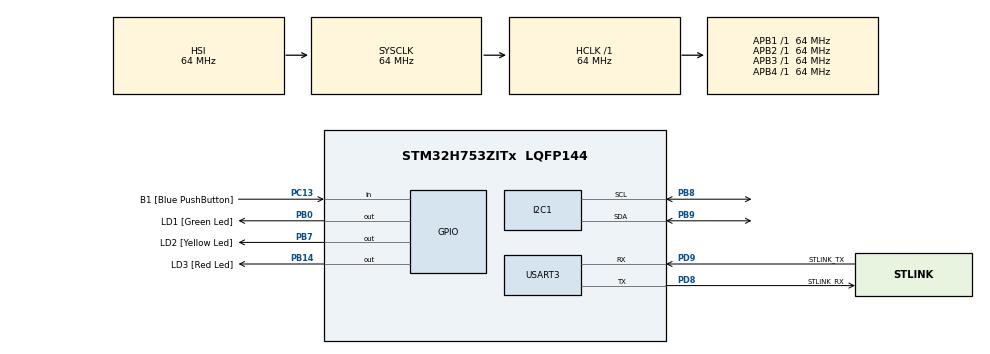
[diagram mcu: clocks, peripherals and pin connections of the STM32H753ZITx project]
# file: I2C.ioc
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CORTEX_M7.CPU_DCache=Disabled
CORTEX_M7.CPU_ICache=Disabled
CORTEX_M7.MPU_Control=__NULL
CORTEX_M7.default_mode_Activation=1
Dma.Request0=USART3_RX
Dma.USART3_RX.0.Direction=DMA_PERIPH_TO_MEMORY
Dma.USART3_RX.0.EventEnable=DISABLE
Dma.USART3_RX.0.FIFOMode=DMA_FIFOMODE_DISABLE
Dma.USART3_RX.0.Instance=DMA1_Stream0
Dma.USART3_RX.0.MemDataAlignment=DMA_MDATAALIGN_BYTE
Dma.USART3_RX.0.MemInc=DMA_MINC_ENABLE
Dma.USART3_RX.0.Mode=DMA_NORMAL
Dma.USART3_RX.0.PeriphDataAlignment=DMA_PDATAALIGN_BYTE
Dma.USART3_RX.0.PeriphInc=DMA_PINC_DISABLE
Dma.USART3_RX.0.Polarity=HAL_DMAMUX_REQ_GEN_RISING
Dma.USART3_RX.0.Priority=DMA_PRIORITY_LOW
Dma.USART3_RX.0.RequestNumber=1
Dma.USART3_RX.0.SignalID=NONE
Dma.USART3_RX.0.SyncEnable=DISABLE
Dma.USART3_RX.0.SyncPolarity=HAL_DMAMUX_SYNC_NO_EVENT
Dma.USART3_RX.0.SyncRequestNumber=1
Dma.USART3_RX.0.SyncSignalID=NONE
Mcu.Family=STM32H7
Mcu.Name=STM32H753ZITx
Mcu.Package=LQFP144
NVIC.DMA1_Stream0_IRQn=true\:0\:0\:false\:false\:true\:false\:true\:true
NVIC.I2C1_ER_IRQn=true\:0\:0\:false\:false\:true\:true\:true\:true
NVIC.I2C1_EV_IRQn=true\:0\:0\:false\:false\:true\:true\:true\:true
NVIC.PriorityGroup=NVIC_PRIORITYGROUP_4
NVIC.USART3_IRQn=true\:0\:0\:false\:false\:true\:true\:true\:true
PB0.GPIO_Label=LD1 [Green Led]
PB0.Signal=GPIO_Output
PB14.GPIO_Label=LD3 [Red Led]
PB14.Signal=GPIO_Output
PB7.GPIO_Label=LD2 [Yellow Led]
PB7.Signal=GPIO_Output
PB8.GPIO_Mode=GPIO_MODE_AF_OD
PB8.GPIO_Pu=GPIO_PULLUP
PB8.GPIO_Speed=GPIO_SPEED_FREQ_VERY_HIGH
PB8.Mode=I2C
PB8.Signal=I2C1_SCL
PB9.GPIO_Pu=GPIO_PULLUP
PB9.GPIO_Speed=GPIO_SPEED_FREQ_VERY_HIGH
PB9.Mode=I2C
PB9.Signal=I2C1_SDA
PC13.GPIO_Label=B1 [Blue PushButton]
PC13.Signal=GPIO_Input
PC14-OSC32_IN\ (OSC32_IN).Signal=RCC_OSC32_IN
PC15-OSC32_OUT\ (OSC32_OUT).Signal=RCC_OSC32_OUT
PD8.GPIO_Label=STLINK_RX
PD8.Mode=Asynchronous
PD8.Signal=USART3_TX
PD9.GPIO_Label=STLINK_TX
PD9.Mode=Asynchronous
PD9.Signal=USART3_RX
PH0-OSC_IN\ (PH0).Signal=RCC_OSC_IN
PH1-OSC_OUT\ (PH1).Signal=RCC_OSC_OUT
ProjectManager.HeapSize=0x200
ProjectManager.StackSize=0x400
ProjectManager.TargetToolchain=STM32CubeIDE
RCC.ADCFreq_Value=129000000
RCC.APB1Freq_Value=64000000
RCC.APB2Freq_Value=64000000
RCC.APB3Freq_Value=64000000
RCC.APB4Freq_Value=64000000
RCC.CortexFreq_Value=64000000
RCC.DIVM1=1
RCC.DIVN1=24
RCC.DIVQ1=4
RCC.HCLKFreq_Value=64000000
RCC.HSE_VALUE=8000000
RCC.PLLFRACN=0
RCC.PWR_Regulator_Voltage_Scale=PWR_REGULATOR_VOLTAGE_SCALE2
RCC.SYSCLKFreq_VALUE=64000000
RCC.USBFreq_Value=384000000
USART3.VirtualMode-Asynchronous=VM_ASYNC
VP_MEMORYMAP_VS_MEMORYMAP.Mode=CurAppReg
board=NUCLEO-H753ZI

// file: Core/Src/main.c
/* USER CODE BEGIN Header */
/**
  ******************************************************************************
  * @file           : main.c
  * @brief          : Main program body
  ******************************************************************************
  * @attention
  *
  * Copyright (c) 2025 STMicroelectronics.
  * All rights reserved.
  *
  * This software is licensed under terms that can be found in the LICENSE file
  * in the root directory of this software component.
  * If no LICENSE file comes with this software, it is provided AS-IS.
  *
  ******************************************************************************
  */
/* USER CODE END Header */
#include "main.h"

/* USER CODE BEGIN Includes */
#include <stdlib.h>
/* USER CODE END Includes */

/* USER CODE BEGIN PD */
#define PCF8591_ADDRESS (0x48 << 1)
/* USER CODE END PD */

I2C_HandleTypeDef hi2c1;

UART_HandleTypeDef huart3;
DMA_HandleTypeDef hdma_usart3_rx;

/* USER CODE BEGIN PV */

#define RX_BUFFER_SIZE 32

uint8_t rx_buffer[RX_BUFFER_SIZE];
uint8_t rx_byte;
uint8_t rx_index = 0;

// FLAGS para comandos
volatile uint8_t comando_pendente = 0; // 0 = nenhum, 1 = AIN0, 2 = AIN1, 3 = AIN3, 4 = DAC
volatile int valor_dac = 0;

/* USER CODE END PV */

void SystemClock_Config(void);
static void MX_GPIO_Init(void);
static void MX_DMA_Init(void);
static void MX_I2C1_Init(void);
static void MX_USART3_UART_Init(void);
/* USER CODE BEGIN PFP */

uint8_t PCF8591_ReadAnalog(uint8_t channel);

/* USER CODE END PFP */

int main(void)
{

  /* MCU Configuration--------------------------------------------------------*/

  /* Reset of all peripherals, Initializes the Flash interface and the Systick. */
  HAL_Init();

  /* Configure the system clock */
  SystemClock_Config();

  /* Initialize all configured peripherals */
  MX_GPIO_Init();
  MX_DMA_Init();
  MX_I2C1_Init();
  MX_USART3_UART_Init();
  /* USER CODE BEGIN 2 */

  HAL_UART_Receive_IT(&huart3, &rx_byte, 1);

  /* USER CODE END 2 */

  /* Infinite loop */
  while (1)
  {

    /* USER CODE BEGIN 3 */

	  char buffer[50];
	  if (comando_pendente == 1) {
	      uint8_t v = PCF8591_ReadAnalog(0);
	      sprintf(buffer, "AIN0: %d\r\n", v);
	      HAL_UART_Transmit(&huart3, (uint8_t*)buffer, strlen(buffer), 10);
	      comando_pendente = 0;
	  } else if (comando_pendente == 2) {
	      uint8_t v = PCF8591_ReadAnalog(1);
	      sprintf(buffer, "AIN1: %d\r\n", v);
	      HAL_UART_Transmit(&huart3, (uint8_t*)buffer, strlen(buffer), 10);
	      comando_pendente = 0;
	  } else if (comando_pendente == 3) {
	      uint8_t v = PCF8591_ReadAnalog(3);
	      sprintf(buffer, "AIN3: %d\r\n", v);
	      HAL_UART_Transmit(&huart3, (uint8_t*)buffer, strlen(buffer), 10);
	      comando_pendente = 0;
	  } else if (comando_pendente == 4) {
	      PCF8591_WriteDAC((uint8_t)valor_dac);
	      sprintf(buffer, "Valor do DAC: %d\r\n", valor_dac);
	      HAL_UART_Transmit(&huart3, (uint8_t*)buffer, strlen(buffer), 10);
	      comando_pendente = 0;
	  }

//	  HAL_UART_Receive_IT(&huart3, &rx_byte, 1);

//	  char buffer[32];

//	  uint8_t valor_ain0 = PCF8591_ReadAnalog(0);
//	  sprintf(buffer, "AIN0 %d\r\n", valor_ain0);
//	  HAL_UART_Transmit(&huart3, (uint8_t*)buffer, strlen(buffer), 10);
//	  HAL_Delay(200);
//
//	  uint8_t valor_ain1 = PCF8591_ReadAnalog(1);
//	  sprintf(buffer, "AIN1 %d\r\n", valor_ain1);
//	  HAL_UART_Transmit(&huart3, (uint8_t*)buffer, strlen(buffer), 10);
//	  HAL_Delay(200);
//
//	  uint8_t valor_ain3 = PCF8591_ReadAnalog(3);
//	  sprintf(buffer, "AIN3 %d\r\n", valor_ain3);
//	  HAL_UART_Transmit(&huart3, (uint8_t*)buffer, strlen(buffer), 10);
//	  HAL_Delay(200);

//
//	  char buffer[32];
//	  uint8_t valor_ain0 = PCF8591_ReadAnalog(3);
//	  sprintf(buffer, "AIN0 %d\r\n", valor_ain0);
//	  HAL_UART_Transmit(& huart3, (uint8_t*)buffer, strlen(buffer), 10);
//	  HAL_Delay(200);
//
//	  uint8_t valor_ain0 = PCF8591_ReadAnalog(0);
//	  sprintf()
//	  HAL_UART_Transmit(&huart3, &valor_ain0, 1, 10);
//	  HAL_Delay(200);
//
//	  uint8_t valor_ain1 = PCF8591_ReadAnalog(1);
//	  HAL_UART_Transmit(&huart3, &valor_ain1, 1, 10);
//	  HAL_Delay(200);
//
//	  uint8_t valor_ain3 = PCF8591_ReadAnalog(3);
//	  HAL_UART_Transmit(&huart3, &valor_ain3, 1, 10);
//	  HAL_Delay(200);

  }

  /* USER CODE END 3 */
}

void SystemClock_Config(void)
{
  RCC_OscInitTypeDef RCC_OscInitStruct = {0};
  RCC_ClkInitTypeDef RCC_ClkInitStruct = {0};

  /** Supply configuration update enable
  */
  HAL_PWREx_ConfigSupply(PWR_LDO_SUPPLY);

  /** Configure the main internal regulator output voltage
  */
  __HAL_PWR_VOLTAGESCALING_CONFIG(PWR_REGULATOR_VOLTAGE_SCALE2);

  while(!__HAL_PWR_GET_FLAG(PWR_FLAG_VOSRDY)) {}

  /** Initializes the RCC Oscillators according to the specified parameters
  * in the RCC_OscInitTypeDef structure.
  */
  RCC_OscInitStruct.OscillatorType = RCC_OSCILLATORTYPE_HSI;
  RCC_OscInitStruct.HSIState = RCC_HSI_DIV1;
  RCC_OscInitStruct.HSICalibrationValue = RCC_HSICALIBRATION_DEFAULT;
  RCC_OscInitStruct.PLL.PLLState = RCC_PLL_NONE;
  if (HAL_RCC_OscConfig(&RCC_OscInitStruct) != HAL_OK)
  {
    Error_Handler();
  }

  /** Initializes the CPU, AHB and APB buses clocks
  */
  RCC_ClkInitStruct.ClockType = RCC_CLOCKTYPE_HCLK|RCC_CLOCKTYPE_SYSCLK
                              |RCC_CLOCKTYPE_PCLK1|RCC_CLOCKTYPE_PCLK2
                              |RCC_CLOCKTYPE_D3PCLK1|RCC_CLOCKTYPE_D1PCLK1;
  RCC_ClkInitStruct.SYSCLKSource = RCC_SYSCLKSOURCE_HSI;
  RCC_ClkInitStruct.SYSCLKDivider = RCC_SYSCLK_DIV1;
  RCC_ClkInitStruct.AHBCLKDivider = RCC_HCLK_DIV1;
  RCC_ClkInitStruct.APB3CLKDivider = RCC_APB3_DIV1;
  RCC_ClkInitStruct.APB1CLKDivider = RCC_APB1_DIV1;
  RCC_ClkInitStruct.APB2CLKDivider = RCC_APB2_DIV1;
  RCC_ClkInitStruct.APB4CLKDivider = RCC_APB4_DIV1;

  if (HAL_RCC_ClockConfig(&RCC_ClkInitStruct, FLASH_LATENCY_1) != HAL_OK)
  {
    Error_Handler();
  }
}

static void MX_I2C1_Init(void)
{

  hi2c1.Instance = I2C1;
  hi2c1.Init.Timing = 0x10707DBC;
  hi2c1.Init.OwnAddress1 = 0;
  hi2c1.Init.AddressingMode = I2C_ADDRESSINGMODE_7BIT;
  hi2c1.Init.DualAddressMode = I2C_DUALADDRESS_DISABLE;
  hi2c1.Init.OwnAddress2 = 0;
  hi2c1.Init.OwnAddress2Masks = I2C_OA2_NOMASK;
  hi2c1.Init.GeneralCallMode = I2C_GENERALCALL_DISABLE;
  hi2c1.Init.NoStretchMode = I2C_NOSTRETCH_DISABLE;
  if (HAL_I2C_Init(&hi2c1) != HAL_OK)
  {
    Error_Handler();
  }

  /** Configure Analogue filter
  */
  if (HAL_I2CEx_ConfigAnalogFilter(&hi2c1, I2C_ANALOGFILTER_ENABLE) != HAL_OK)
  {
    Error_Handler();
  }

  /** Configure Digital filter
  */
  if (HAL_I2CEx_ConfigDigitalFilter(&hi2c1, 0) != HAL_OK)
  {
    Error_Handler();
  }

}

static void MX_USART3_UART_Init(void)
{

  huart3.Instance = USART3;
  huart3.Init.BaudRate = 115200;
  huart3.Init.WordLength = UART_WORDLENGTH_8B;
  huart3.Init.StopBits = UART_STOPBITS_1;
  huart3.Init.Parity = UART_PARITY_NONE;
  huart3.Init.Mode = UART_MODE_TX_RX;
  huart3.Init.HwFlowCtl = UART_HWCONTROL_NONE;
  huart3.Init.OverSampling = UART_OVERSAMPLING_16;
  huart3.Init.OneBitSampling = UART_ONE_BIT_SAMPLE_DISABLE;
  huart3.Init.ClockPrescaler = UART_PRESCALER_DIV1;
  huart3.AdvancedInit.AdvFeatureInit = UART_ADVFEATURE_NO_INIT;
  if (HAL_UART_Init(&huart3) != HAL_OK)
  {
    Error_Handler();
  }
  if (HAL_UARTEx_SetTxFifoThreshold(&huart3, UART_TXFIFO_THRESHOLD_1_8) != HAL_OK)
  {
    Error_Handler();
  }
  if (HAL_UARTEx_SetRxFifoThreshold(&huart3, UART_RXFIFO_THRESHOLD_1_8) != HAL_OK)
  {
    Error_Handler();
  }
  if (HAL_UARTEx_DisableFifoMode(&huart3) != HAL_OK)
  {
    Error_Handler();
  }

}

static void MX_DMA_Init(void)
{

  /* DMA controller clock enable */
  __HAL_RCC_DMA1_CLK_ENABLE();

  /* DMA interrupt init */
  /* DMA1_Stream0_IRQn interrupt configuration */
  HAL_NVIC_SetPriority(DMA1_Stream0_IRQn, 0, 0);
  HAL_NVIC_EnableIRQ(DMA1_Stream0_IRQn);

}

static void MX_GPIO_Init(void)
{
  GPIO_InitTypeDef GPIO_InitStruct = {0};

  /* GPIO Ports Clock Enable */
  __HAL_RCC_GPIOC_CLK_ENABLE();
  __HAL_RCC_GPIOH_CLK_ENABLE();
  __HAL_RCC_GPIOB_CLK_ENABLE();
  __HAL_RCC_GPIOD_CLK_ENABLE();

  /*Configure GPIO pin Output Level */
  HAL_GPIO_WritePin(GPIOB, LD1_Pin|LD3_Pin|LD2_Pin, GPIO_PIN_RESET);

  /*Configure GPIO pin : B1_Pin */
  GPIO_InitStruct.Pin = B1_Pin;
  GPIO_InitStruct.Mode = GPIO_MODE_INPUT;
  GPIO_InitStruct.Pull = GPIO_NOPULL;
  HAL_GPIO_Init(B1_GPIO_Port, &GPIO_InitStruct);

  /*Configure GPIO pins : LD1_Pin LD3_Pin LD2_Pin */
  GPIO_InitStruct.Pin = LD1_Pin|LD3_Pin|LD2_Pin;
  GPIO_InitStruct.Mode = GPIO_MODE_OUTPUT_PP;
  GPIO_InitStruct.Pull = GPIO_NOPULL;
  GPIO_InitStruct.Speed = GPIO_SPEED_FREQ_LOW;
  HAL_GPIO_Init(GPIOB, &GPIO_InitStruct);

}

/* USER CODE BEGIN 4 */

//void processa_comando(char* comando) {
//  char buffer[50];
//  sprintf(buffer, "Recebido: %s\r\n", comando);
//  HAL_UART_Transmit(&huart3, (uint8_t*)buffer, strlen(buffer), 10);
//}

void processa_comando(char* comando) {
    if(strcmp(comando, "Read_AIN0") == 0) {
        comando_pendente = 1;
    } else if(strcmp(comando, "Read_AIN1") == 0) {
        comando_pendente = 2;
    } else if(strcmp(comando, "Read_AIN3") == 0) {
        comando_pendente = 3;
    } else if(strncmp(comando, "Set_DAC_", 8) == 0) {
        valor_dac = atoi(&comando[8]);
        comando_pendente = 4;
    } else {
        char buffer[50];
        sprintf(buffer, "Comando inválido: %s\r\n", comando);
        HAL_UART_Transmit(&huart3, (uint8_t*)buffer, strlen(buffer), 10);
    }
}

uint8_t PCF8591_ReadAnalog(uint8_t channel){
    uint8_t config_byte = 0x40 | (channel & 0x03);
    uint8_t analog_data[2];

    HAL_I2C_Master_Transmit(&hi2c1, PCF8591_ADDRESS, &config_byte, 1, 1000);
    HAL_Delay(10);

    HAL_I2C_Master_Receive(&hi2c1, PCF8591_ADDRESS, analog_data, 2, 1000);
    HAL_Delay(10);
    return analog_data[1];
}

void PCF8591_WriteDAC(uint8_t value) {
    uint8_t config_byte = 0x40; // Modo DAC
    uint8_t tx_data[2] = {config_byte, value};
    HAL_I2C_Master_Transmit(&hi2c1, PCF8591_ADDRESS, tx_data, 2, 1000);
    HAL_Delay(10);
}

void HAL_UART_RxCpltCallback(UART_HandleTypeDef *huart) {
	if (rx_byte != '\n' && rx_byte != '\r' && rx_index < RX_BUFFER_SIZE - 1) {
		rx_buffer[rx_index++] = rx_byte;
	} else if (rx_index > 0) {
		rx_buffer[rx_index] = '\0';
		processa_comando((char*)rx_buffer);
		rx_index = 0;
	}
	HAL_UART_Receive_IT(&huart3, &rx_byte, 1);
}

//void HAL_UART_RxCpltCallback(UART_HandleTypeDef *huart) {
//  if (huart->Instance == USART3) {
//    // Só pra testar se chega qualquer coisa
//    HAL_UART_Transmit(&huart3, &rx_byte, 1, 10);
//    HAL_UART_Receive_IT(&huart3, &rx_byte, 1);
//  }
//}

/* USER CODE END 4 */

void Error_Handler(void)
{
  __disable_irq();
  while (1)
  {
  }
}
